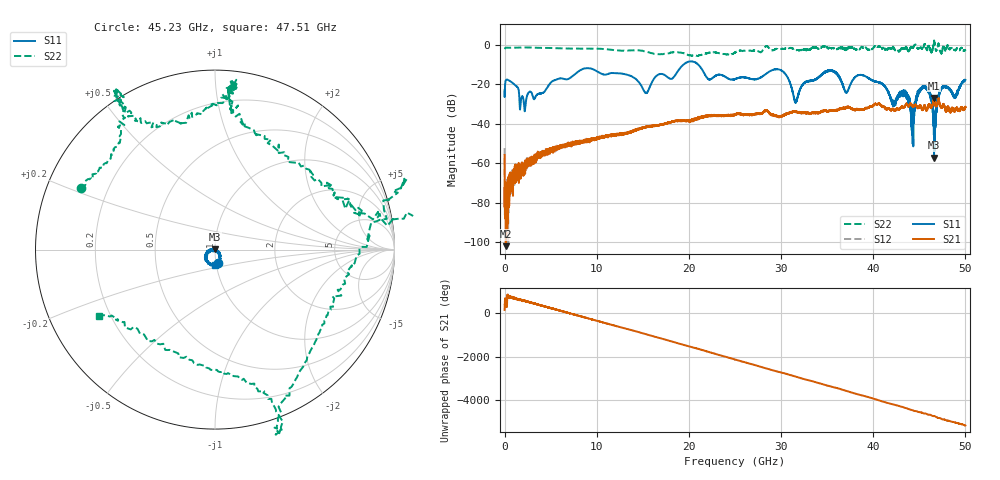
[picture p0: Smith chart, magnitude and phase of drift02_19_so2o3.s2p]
!Created with skrf (http://scikit-rf.org).
# Hz S RI R 50.0
!freq ReS11 ImS11 ReS21 ImS21 ReS12 ImS12 ReS22 ImS22
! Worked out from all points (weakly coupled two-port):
!   10001 points, 300 kHz to 50 GHz, reference 50 ohm
!   highest |S21| = -26.89 dB at 46.6 GHz (marker M1); lowest = -102.0 dB at 130.3 MHz (marker M2)
!   lowest |S11| = -57.2 dB at 46.6 GHz (marker M3), VSWR 1.00, Z = 49.9 + j0.125 ohm
!   |S11| at or under -10 dB: start of sweep to 19.41 GHz; 21 GHz to end of sweep
!   |S22| runs from -5.7 to 2.2 dB; largest |S21 - S12| = 0.0034
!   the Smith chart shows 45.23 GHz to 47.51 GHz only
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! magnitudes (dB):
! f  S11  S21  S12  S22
! 300 kHz  -22.9  -55.8  -52.3  -2.1
! 130.3 MHz  -17.9  -102.0  -79.1  -1.5
! 2.19 GHz  -33.6  -62.1  -63.7  -1.3
! 8.335 GHz  -12.5  -48.6  -49.1  -1.9
! 15.34 GHz  -24.4  -41.7  -41.7  -3.4
! 16.67 GHz  -15.1  -40.7  -40.9  -4.7
! 20.29 GHz  -8.4  -38.7  -38.2  -5.5
! 25 GHz  -17.3  -35.4  -35.4  -3.9
! 29.86 GHz  -12.6  -36.3  -36.4  -2.0
! 31.59 GHz  -29.0  -33.7  -34.0  -2.4
! 33.34 GHz  -18.1  -34.4  -34.5  -1.6
! 35.6 GHz  -13.2  -33.2  -33.3  -1.6
! 37.1 GHz  -24.2  -31.6  -31.7  -2.3
! 38.75 GHz  -15.3  -32.5  -32.6  -1.0
! 41.67 GHz  -24.0  -32.0  -32.3  -1.8
! 43.5 GHz  -25.7  -30.5  -30.8  -1.6
! 44.25 GHz  -33.5  -30.9  -31.1  -1.5
! 45.7 GHz  -21.9  -32.6  -32.5  -0.8
! 46.6 GHz  -41.0  -26.9  -27.1  1.8
! 46.6 GHz  -57.2  -27.0  -27.0  1.9
! 47.47 GHz  -21.8  -31.5  -31.5  -3.4
! 50 GHz  -17.8  -31.4  -31.6  -2.7
